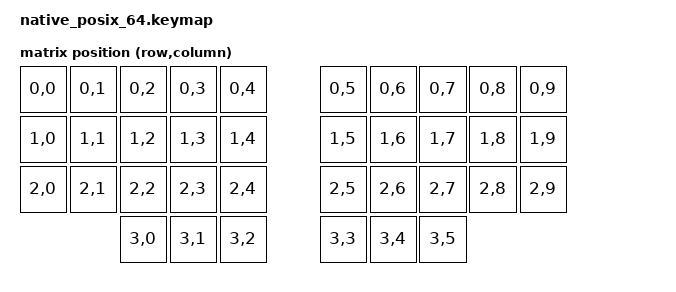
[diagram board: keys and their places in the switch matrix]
#include <dt-bindings/zmk/matrix_transform.h>
#include <dt-bindings/zmk/kscan_mock.h>

/ {
    chosen {
        zmk,matrix-transform = &transform;
    };

    /* op36 position N is RC(N/10, N%10); thumbs 30..35 are row 3. */
    transform: keymap_transform {
        compatible = "zmk,matrix-transform";
        columns = <10>;
        rows = <4>;
        map = <
            RC(0,0) RC(0,1) RC(0,2) RC(0,3) RC(0,4) RC(0,5) RC(0,6) RC(0,7) RC(0,8) RC(0,9)
            RC(1,0) RC(1,1) RC(1,2) RC(1,3) RC(1,4) RC(1,5) RC(1,6) RC(1,7) RC(1,8) RC(1,9)
            RC(2,0) RC(2,1) RC(2,2) RC(2,3) RC(2,4) RC(2,5) RC(2,6) RC(2,7) RC(2,8) RC(2,9)
            RC(3,0) RC(3,1) RC(3,2) RC(3,3) RC(3,4) RC(3,5)
        >;
    };
};&kscan {
    rows = <4>;
    columns = <10>;
    events = <
        /* lead-in so require-prior-idle-ms sees real idle time */
        ZMK_MOCK_PRESS(0,1,10)
        ZMK_MOCK_RELEASE(0,1,400)

        /* cmbru (thumbs 31+34) leaves en for ru, and taps Globe so
           the host follows. Everything below therefore resolves on ru. */
        ZMK_MOCK_PRESS(3,1,5)
        ZMK_MOCK_PRESS(3,4,20)
        ZMK_MOCK_RELEASE(3,1,10)
        ZMK_MOCK_RELEASE(3,4,300)

        /* Hold м (pos 23) past the 200 ms term: the right hand is free, so
           this entrance reaches щ, э, х and ъ — including ъ, which sits on
           the key the other entrance uses. */
        ZMK_MOCK_PRESS(2,3,300)
        ZMK_MOCK_PRESS(0,7,30)
        ZMK_MOCK_RELEASE(0,7,30)
        ZMK_MOCK_PRESS(0,8,30)
        ZMK_MOCK_RELEASE(0,8,30)
        ZMK_MOCK_PRESS(1,8,30)
        ZMK_MOCK_RELEASE(1,8,30)
        ZMK_MOCK_PRESS(2,6,30)
        ZMK_MOCK_RELEASE(2,6,30)
        ZMK_MOCK_RELEASE(2,3,300)

        /* Hold ь (pos 26): the left hand is free, so this entrance reaches
           ц, ё and ф. Position 10 is a home row mod on ru and a plain letter
           on ru_ext, which is what must win here. */
        ZMK_MOCK_PRESS(2,6,300)
        ZMK_MOCK_PRESS(0,1,30)
        ZMK_MOCK_RELEASE(0,1,30)
        ZMK_MOCK_PRESS(0,4,30)
        ZMK_MOCK_RELEASE(0,4,30)
        ZMK_MOCK_PRESS(1,0,30)
        ZMK_MOCK_RELEASE(1,0,30)
        ZMK_MOCK_RELEASE(2,6,300)
    >;
};

#include "/cfg/op36_ruen.keymap"
